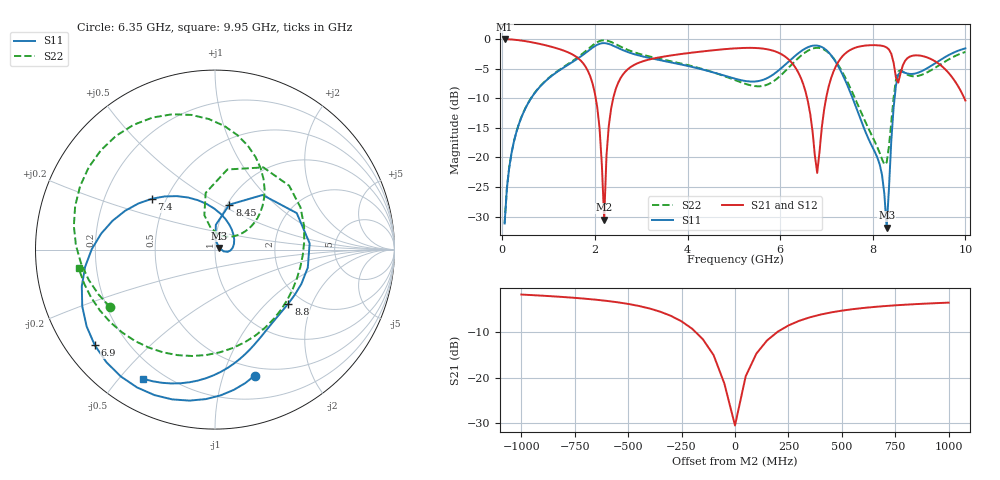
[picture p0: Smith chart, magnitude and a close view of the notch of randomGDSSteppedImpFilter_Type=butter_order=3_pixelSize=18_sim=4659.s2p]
! freq	dB(S11)	phase(S11)	dB(S12)	phase(S12)
!  dB(S21)	phase(S21)	dB(S22)	phase(S22)
!S-par simulation data
#  GHz  S  DB  R 50
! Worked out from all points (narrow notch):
!   200 points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, 50 MHz to 10 GHz, reference 50 ohm
!   highest |S21| = -0.01 dB at 50 MHz (marker M1); lowest = -30.5 dB at 2.2 GHz (marker M2)
!   notch at M2: 27.8 dB deep, 167 MHz wide at half that depth
!   lowest |S11| = -31.9 dB at 8.3 GHz (marker M3), VSWR 1.05, Z = 52.4 + j1.01 ohm
!   |S11| at or under -10 dB: start of sweep to 623.5 MHz; 7.565 GHz to 8.472 GHz (906.7 MHz wide, 11.3 % of centre)
!   |S22| runs from -31.2 to -0.2 dB; largest |S21 - S12| = 0
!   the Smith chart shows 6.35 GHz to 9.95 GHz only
!   S11 on the Smith chart (normalised r, x): 6.35 GHz: 0.42, -1.28; 6.9 GHz: 0.09, -0.35; 7.4 GHz: 0.42, +0.30; 8.45 GHz: 1.02, +0.55; 8.8 GHz: 1.69, -1.36; 9.95 GHz: 0.13, -0.58
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0.05  -31.18 -94.8  -0.01 -3.7  -0.01 -3.7  -31.16 -92.6
0.35  -14.57 -123.7  -0.19 -25.6  -0.19 -25.6  -14.54 -108.5
1.15  -5.74 156.4  -1.50 -83.2  -1.50 -83.2  -5.66 -144.0
1.75  -2.63 68.1  -4.14 -137.1  -4.14 -137.1  -2.37 -165.3
2.05  -0.97 -6.2  -11.51 -179.0  -11.51 -179.0  -0.53 177.0
2.2  -0.69 -50.3  -30.53 -102.0  -30.53 -102.0  -0.20 164.5
2.35  -0.98 -91.7  -11.76 -64.2  -11.76 -64.2  -0.49 152.9
2.65  -2.02 -154.8  -5.57 -99.6  -5.57 -99.6  -1.63 137.6
3.4  -3.56 113.3  -3.08 -157.2  -3.08 -157.2  -3.34 112.2
5.05  -6.75 -11.0  -1.57 96.0  -1.57 96.0  -7.02 26.5
5.85  -6.00 -40.2  -1.98 32.9  -1.98 32.9  -7.18 -75.1
6.35  -2.67 -72.4  -5.08 -16.8  -5.08 -16.8  -3.52 -151.4
6.7  -1.13 -112.6  -15.64 -44.4  -15.64 -44.4  -1.61 154.9
6.9  -1.35 -141.5  -14.90 55.5  -14.90 55.5  -1.62 123.1
7.4  -6.90 141.2  -2.48 2.0  -2.48 2.0  -6.42 55.5
8.3  -31.88 22.2  -1.43 -97.2  -1.43 -97.2  -20.87 82.1
8.35  -25.19 87.9  -1.78 -104.7  -1.78 -104.7  -18.11 101.3
8.45  -11.60 72.3  -4.01 -120.9  -4.01 -120.9  -9.90 99.4
8.8  -5.90 -36.3  -2.97 -114.0  -2.97 -114.0  -6.19 -3.5
9.45  -3.58 -83.8  -4.33 179.9  -4.33 179.9  -4.35 -102.1
9.95  -1.69 -119.0  -9.54 132.8  -9.54 132.8  -2.31 -172.3
10  -1.58 -122.7  -10.39 128.7  -10.39 128.7  -2.18 -178.8
